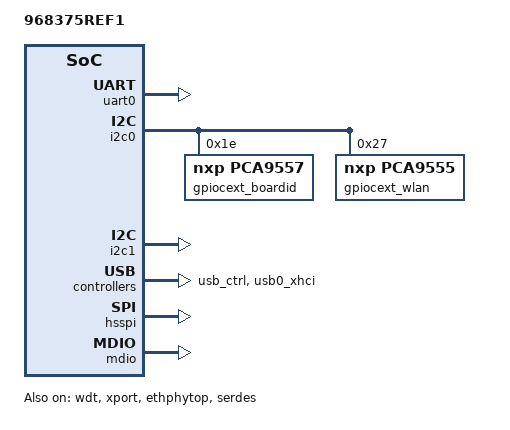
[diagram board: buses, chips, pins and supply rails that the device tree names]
#include "inc/68375.dtsi"

/ {
    model = "968375REF1";

    memory_controller {
        memcfg = <(BP1_DDR_MCBSEL_FORMAT_VER1   | \
        BP1_DDR_TYPE_LPDDR4         | \
        BP1_DDR_SPEED_2133_36_39_39 | \
        BP1_DDR_WIDTH_32BIT         | \
        BP1_DDR_TOTAL_SIZE_16Gb      | \
        BP1_DDR_SSC_CONFIG_1 )>;
    };

    pon_sfp: pon_sfp {
        pinctrl-names = "default", "tx-sd";
        pinctrl-0 = <&wan0_lbe_pin_30>;
        pinctrl-1 = <&wan0_lbe_pin_30 &rogue_onu_in0_pin_27>;
        compatible = "brcm,sfp";
        i2c-bus = <&i2c0>;
        los-gpio = <&gpioc 3 GPIO_ACTIVE_HIGH>;
        mod-def0-gpio = <&gpioc 4 GPIO_ACTIVE_LOW>;
        tx-power-gpio = <&gpioc 53 GPIO_ACTIVE_HIGH>;
        tx-power-down-gpio = <&gpioc 52 GPIO_ACTIVE_HIGH>;
        rx-power-gpio = <&gpioc 6 GPIO_ACTIVE_HIGH>;
		status = "nokay";
    };

    ae_sfp: ae_sfp {
        pinctrl-names = "default", "tx-sd";
        pinctrl-0 = <&wan1_lbe_pin_5>;
        pinctrl-1 = <&wan1_lbe_pin_5 &rogue_onu_in1_pin_26>;
        compatible = "brcm,sfp";
        i2c-bus = <&i2c1>;
        los-gpio = <&gpioc 49 GPIO_ACTIVE_HIGH>;
        mod-def0-gpio = <&gpioc 50 GPIO_ACTIVE_LOW>;
        tx-power-gpio = <&gpioc 24 GPIO_ACTIVE_HIGH>;
        tx-power-down-gpio = <&gpioc 23 GPIO_ACTIVE_HIGH>;
        rx-power-gpio = <&gpioc 25 GPIO_ACTIVE_HIGH>;
		status = "nokay";
    };

    wan_serdes {
        status = "nokay";
        reg = <0>;
//        pon-led = <&led1>;
//        alarm-led = <&led0>;
        trx = <&pon_sfp>;
    };

    wan_serdes1 {
        compatible = "brcm,pon-drv";
        reg = <1>;
        trx = <&ae_sfp>;
    };
};

&wdt {
    status = "okay";
};

&uart0 {
    status = "okay";
};

&i2c0 {
    pinctrl-0 = <&bsc_m0_scl_pin_28 &bsc_m0_sda_pin_29>;
    pinctrl-names = "default";
    status = "okay";

    gpiocext_boardid: gpio@1e {
        compatible = "nxp,pca9557";
        reg = <0x1e>;
        #gpio-cells = <2>;
        gpio-controller;
        polarity = <0x00>;
    };

    gpiocext_wlan: gpio@27 {
        compatible = "nxp,pca9555";
        reg = <0x27>;
        #gpio-cells = <2>;
        gpio-controller;
        polarity = <0x00>;
    };
};

&i2c1 {
    pinctrl-0 = <&b_bsc_m1_sda_pin_58 &b_bsc_m1_scl_pin_48>;
    pinctrl-names = "default";
    status = "okay";
};

&usb_ctrl {
    pinctrl-names = "default";
    pinctrl-0 = <&usb0_pwr_pins &usb1_pwr_pins>;
    xhci-enable;
    status = "okay";
};

&usb0_xhci {
    status = "okay";

    usb_port1: port1 {
        reg = <1>;
        #trigger-source-cells = <0>;
    };

    usb_port2: port2 {
        reg = <2>;
        #trigger-source-cells = <0>;
    };
};

&hsspi {
    status = "okay";
};

&xport {
    status = "okay";
};

&ethphytop {
    xphy0-enabled;
    xphy1-enabled;
    xphy2-enabled;
    xphy3-enabled;
    xphy4-enabled;
    status = "okay";
};

&serdes {
    status = "okay";
};

&mdio {
    status = "okay";
};

&mdio_bus {
    xphy0 {
        status = "okay";
    };
    xphy1 {
        status = "okay";
    };
    xphy2 {
        status = "okay";
    };
    xphy3 {
        status = "okay";
    };
    xphy4 {
        status = "okay";
    };
    serdes0 {
        pinctrl-names = "default";
        pinctrl-0 = <&a_signal_detect0_pin_3 &a_mod_abs0_pin_4>;
        rx-power = <&gpioc 6 GPIO_ACTIVE_HIGH>;
        tx-power = <&gpioc 53 GPIO_ACTIVE_HIGH>;
        tx-disable = <&gpioc 30 GPIO_ACTIVE_HIGH>;
        10000-Base-R;
        5000-Base-R;
        2500-Base-X;
        1000-Base-X;
        status = "nokay";
    };
    serdes1 {
        pinctrl-names = "default";
        pinctrl-0 = <&a_signal_detect1_pin_49 &a_mod_abs1_pin_50>;
        rx-power = <&gpioc 25 GPIO_ACTIVE_HIGH>;
        tx-power = <&gpioc 24 GPIO_ACTIVE_HIGH>;
        tx-disable = <&gpioc 5 GPIO_ACTIVE_HIGH>;
        10000-Base-R;
        5000-Base-R;
        2500-Base-X;
        1000-Base-X;
        status = "okay";
    };
};

&phy_wan_serdes {
    status = "nokay";
};

&switch0 {
    ports {
        port_xgphy0 {
            status = "okay";
        };
        port_xgphy1 {
            status = "okay";
        };
        port_xgphy2 {
            status = "okay";
        };
        port_xgphy3 {
            status = "okay";
        };
        port_xgphy4 {
            status = "okay";
        };
        port_slan1@slan_sd {
            status = "okay";
        };
        port_slan0@xpon_ae {
            status = "nokay";
        };
        port_wan@xpon_ae {
            status = "nokay";
        };
        port_wan@slan_sd {
            status = "nokay";
        };
    };
};
